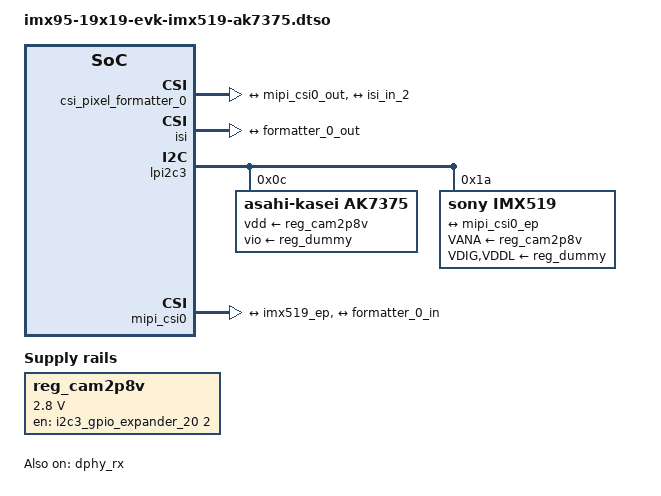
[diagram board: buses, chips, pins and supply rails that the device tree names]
// SPDX-License-Identifier: (GPL-2.0+ OR MIT)
/*
 * Copyright 2026 NXP
 */

/dts-v1/;
/plugin/;

#include <dt-bindings/gpio/gpio.h>

&{/} {
	reg_cam2p8v: regulator-cam2p8v {
		compatible = "regulator-fixed";
		regulator-max-microvolt = <2800000>;
		regulator-min-microvolt = <2800000>;
		regulator-name = "+V2.8_SW cam";
		gpio = <&i2c3_gpio_expander_20 2 GPIO_ACTIVE_HIGH>;
		enable-active-high;
	};
};

&csi_pixel_formatter_0 {
	status = "okay";

	ports {
		#address-cells = <1>;
		#size-cells = <0>;

		port@0 {
			reg = <0>;

			formatter_0_in: endpoint {
				remote-endpoint = <&mipi_csi0_out>;
			};
		};

		port@1 {
			reg = <1>;

			formatter_0_out: endpoint {
				remote-endpoint = <&isi_in_2>;
			};
		};
	};
};

&dphy_rx {
	status = "okay";
};

&isi {
	status = "okay";

	ports {
		#address-cells = <1>;
		#size-cells = <0>;

		port@2 {
			reg = <2>;

			isi_in_2: endpoint {
				remote-endpoint = <&formatter_0_out>;
			};
		};
	};
};

&lpi2c3 {
	#address-cells = <1>;
	#size-cells = <0>;
	status = "okay";

	ak7375: ak7375@c {
		compatible = "asahi-kasei,ak7375";
		reg = <0x0c>;
		vdd-supply = <&reg_cam2p8v>;
		vio-supply = <&reg_dummy>;
		status = "okay";
	};

	imx519@1a {
		compatible = "sony,imx519";
		reg = <0x1a>;
		clocks = <&osc_24m>;
		clock-names = "xclk";
		VANA-supply = <&reg_cam2p8v>;
		VDIG-supply = <&reg_dummy>;
		VDDL-supply = <&reg_dummy>;
		lens-focus = <&ak7375>;
		orientation = <2>;
		rotation = <0>;
		status = "okay";

		port {
			imx519_ep: endpoint {
				remote-endpoint = <&mipi_csi0_ep>;
				data-lanes = <1 2>;
				clock-lanes = <0>;
				clock-noncontinuous;
				link-frequencies = /bits/ 64 <408000000>;
			};
		};
	};
};

&mipi_csi0 {
	status = "okay";

	ports {
		#address-cells = <1>;
		#size-cells = <0>;

		port@0 {
			reg = <0>;
			mipi_csi0_ep: endpoint {
				remote-endpoint = <&imx519_ep>;
				data-lanes = <1 2>;
				clock-lanes = <0>;
			};
		};

		port@1 {
			reg = <1>;
				mipi_csi0_out: endpoint {
				remote-endpoint = <&formatter_0_in>;
			};
		};
	};
};
